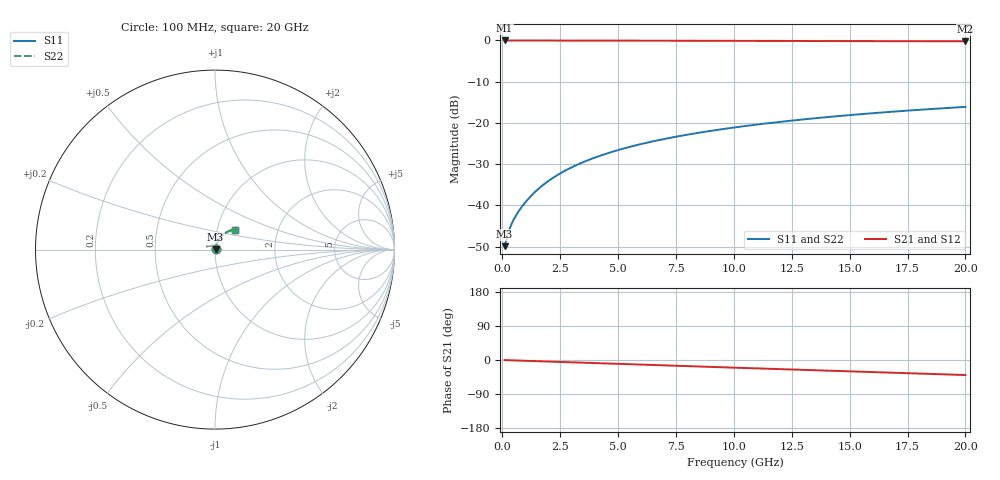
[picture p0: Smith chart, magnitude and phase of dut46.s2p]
! Touchstone file exported from HFSS 2026.1.0
!  File:  C:/ffzhzh/LocalFiles/Ansys_Project_Files/temp_train_TMRDL_46_1782880751_8056.aedt
!  Generated:  12:40:17 PM Jul  1, 2026
!  Design:  TMRDL
!  Project:  temp_train_TMRDL_46_1782880751_8056
! Variables:
!  h_bsmrdl = 2um
!  h_ox = 20um
!  h_rdl = 5um
!  h_sub = 80um
!  h_tmrdl = 3.51um
!  h_tsv = 80um
!  h_via = 3um
!  l_bsmrdl = 300um
!  l_sub = 1075.46um
!  l_tmrdl = 675.46um
!  m_sub = 200um
!  pitch = 35.59um
!  r_tsv = 6um
!  s_tmrdl = 10um
!  w_bsmrdl = 18um
!  w_sub = 500um
!  w_tmrdl = 26.3um
!  x_tsv_center1 = 688.61um
!  x_tsv_center2 = 1006.61um
!  x_tsv_center3 = 1708.37um
!  x_tsv_center4 = 2026.37um
!  x_tsv_center5 = 2728.13um
!  x_tsv_center6 = 3046.13um
# GHz S MA R 50.000000
! Terminal data exported
! Port[1] = TM_RDL1_1_T1
! Port[2] = TM_RDL1_1_T2
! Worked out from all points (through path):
!   200 points, 100 MHz to 20 GHz, reference 50 ohm
!   highest |S21| = -0.03 dB at 100 MHz (marker M1); lowest = -0.2 dB at 20 GHz (marker M2)
!   group delay of S21, straight-line fit = 5.5 ps
!   lowest |S11| = -49.9 dB at 100 MHz (marker M3), VSWR 1.01, Z = 50.3 + j0.14 ohm
!   |S11| at or under -10 dB: start of sweep to end of sweep
!   |S22| runs from -49.9 to -16.1 dB; largest |S21 - S12| = 3.1e-15
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0.1  0.003211 25.7  0.9971 -0.2  0.9971 -0.2  0.003211 25.7
! Gamma 0 0 0 0
! Port Impedance 50 0 50 0
0.2  0.004133 39.2  0.9968 -0.5  0.9968 -0.5  0.004133 39.2
0.3  0.00508 46.0  0.9965 -0.7  0.9965 -0.7  0.00508 46.0
0.4  0.005961 50.4  0.9963 -0.9  0.9963 -0.9  0.005961 50.4
0.5  0.006799 53.8  0.9961 -1.1  0.9961 -1.1  0.006799 53.8
0.6  0.00762 56.6  0.9959 -1.3  0.9959 -1.3  0.00762 56.6
0.8  0.009271 61.2  0.9958 -1.7  0.9958 -1.7  0.009271 61.1
1  0.01096 64.5  0.9956 -2.1  0.9956 -2.1  0.01096 64.5
1.2  0.0127 67.0  0.9955 -2.5  0.9955 -2.5  0.0127 67.0
1.7  0.01715 70.7  0.9952 -3.5  0.9952 -3.5  0.01716 70.7
2.2  0.0217 72.4  0.9949 -4.5  0.9949 -4.5  0.0217 72.4
2.8  0.02717 73.1  0.9944 -5.8  0.9944 -5.8  0.02717 73.1
3.5  0.03352 73.1  0.9938 -7.2  0.9938 -7.2  0.03352 73.1
4.2  0.0398 72.5  0.9931 -8.6  0.9931 -8.6  0.0398 72.5
5  0.04685 71.5  0.9922 -10.2  0.9922 -10.2  0.04685 71.5
5.9  0.05462 70.2  0.9911 -12.0  0.9911 -12.0  0.05462 70.2
6.8  0.06221 68.7  0.99 -13.8  0.99 -13.8  0.06221 68.7
8.3  0.07449 66.2  0.9881 -16.8  0.9881 -16.8  0.07449 66.2
10.1  0.08865 63.0  0.9858 -20.4  0.9858 -20.4  0.08865 63.0
13.4  0.1131 57.2  0.9816 -26.9  0.9816 -26.9  0.1131 57.1
16.7  0.1357 51.2  0.9774 -33.3  0.9774 -33.3  0.1357 51.2
20  0.1563 45.3  0.9733 -39.7  0.9733 -39.7  0.1563 45.3
